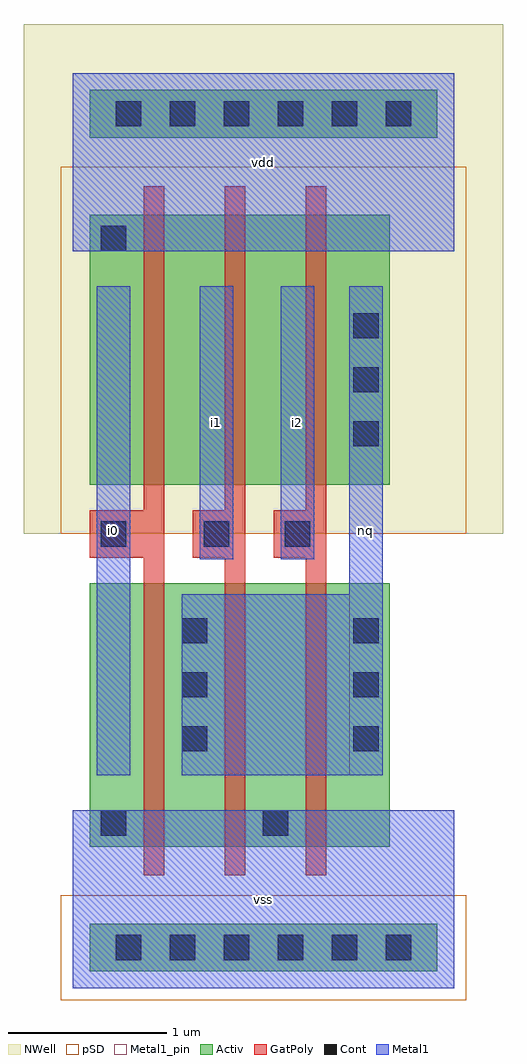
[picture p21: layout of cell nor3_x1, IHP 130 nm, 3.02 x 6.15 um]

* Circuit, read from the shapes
.subckt nor3_x1 i0 i1 i2 nq vdd vss
XM1 nq i0 vss vss sg13_lv_nmos w=1.66u l=0.13u
XM2 vss i1 nq vss sg13_lv_nmos w=1.66u l=0.13u
XM3 nq i2 vss vss sg13_lv_nmos w=1.66u l=0.13u
XM4 n1 i0 vdd vdd sg13_lv_pmos w=1.7u l=0.13u
XM5 n2 i1 n1 vdd sg13_lv_pmos w=1.7u l=0.13u
XM6 nq i2 n2 vdd sg13_lv_pmos w=1.7u l=0.13u
.ends

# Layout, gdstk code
import gdstk
lib = gdstk.Library(unit=1e-6, precision=1e-09)
def R(c, l, rs):  # rectangles x0, y0, x1, y1
    for r in rs: c.add(gdstk.rectangle(r[:2], r[2:], *l))
def A(c, l, x, y, w, h, nx, ny, dx, dy):  # array of equal rectangles
    R(c, l, [(x+i*dx, y+j*dy, x+i*dx+w, y+j*dy+h) for i in range(nx) for j in range(ny)])
def P(c, l, *ps):  # polygons
    for p in ps: c.add(gdstk.Polygon(p, *l))
Activ = (1, 0)
GatPoly = (5, 0)
Cont = (6, 0)
Metal1 = (8, 0)
Metal1_pin = (8, 2)
pSD = (14, 0)
NWell = (31, 0)

nor3_x1 = lib.new_cell('nor3_x1')
R(nor3_x1, Activ, [(0.105,0.105,2.295,0.405), (0.105,0.89,1.995,2.55), (0.105,3.17,1.995,4.87), (0.105,5.355,2.295,5.655)])
P(nor3_x1, GatPoly, [(0.445,0.71),(0.445,2.71),(0.105,2.71),(0.105,3.01),(0.445,3.01),(0.445,5.05),(0.575,5.05),(0.575,0.71)],
  [(0.955,0.71),(0.955,2.71),(0.755,2.71),(0.755,3.01),(0.955,3.01),(0.955,5.05),(1.085,5.05),(1.085,0.71)],
  [(1.465,0.71),(1.465,2.71),(1.265,2.71),(1.265,3.01),(1.465,3.01),(1.465,5.05),(1.595,5.05),(1.595,0.71)])
A(nor3_x1, Cont, 0.27, 0.175, 0.16, 0.16, 6, 2, 0.34, 5.25)
A(nor3_x1, Cont, 0.685, 1.49, 0.16, 0.16, 1, 3, 0, 0.34)
A(nor3_x1, Cont, 1.765, 1.49, 0.16, 0.16, 1, 3, 0, 0.34)
A(nor3_x1, Cont, 1.765, 3.41, 0.16, 0.16, 1, 3, 0, 0.34)
R(nor3_x1, Cont, [(0.175,0.96,0.335,1.12), (1.195,0.96,1.355,1.12), (0.175,2.78,0.335,2.94), (0.825,2.78,0.985,2.94), (1.335,2.78,1.495,2.94), (0.175,4.64,0.335,4.8)])
R(nor3_x1, Metal1, [(0,0,2.4,1.12), (0.15,1.34,0.36,4.42), (0.8,2.7,1.01,4.42), (1.31,2.7,1.52,4.42), (0,4.64,2.4,5.76)])
P(nor3_x1, Metal1, [(0.685,1.34),(0.685,2.48),(1.74,2.48),(1.74,4.42),(1.95,4.42),(1.95,1.34)])
R(nor3_x1, Metal1_pin, [(0,0,2.4,1.12), (0.15,1.34,0.36,4.42), (1.74,1.34,1.95,4.42), (0.8,2.7,1.01,4.42), (1.31,2.7,1.52,4.42), (0,4.64,2.4,5.76)])
R(nor3_x1, pSD, [(-0.075,-0.075,2.475,0.585), (-0.075,2.86,2.475,5.17)])
R(nor3_x1, NWell, [(-0.31,2.86,2.71,6.07)])
nor3_x1.add(gdstk.Label('vss', (1.2,0.56), layer=8, texttype=2))
nor3_x1.add(gdstk.Label('vdd', (1.2,5.2), layer=8, texttype=2))
nor3_x1.add(gdstk.Label('nq', (1.845,2.88), layer=8, texttype=2))
nor3_x1.add(gdstk.Label('i0', (0.255,2.88), layer=8, texttype=2))
nor3_x1.add(gdstk.Label('i1', (0.905,3.56), layer=8, texttype=2))
nor3_x1.add(gdstk.Label('i2', (1.415,3.56), layer=8, texttype=2))

lib.write_gds('nor3_x1.gds')
